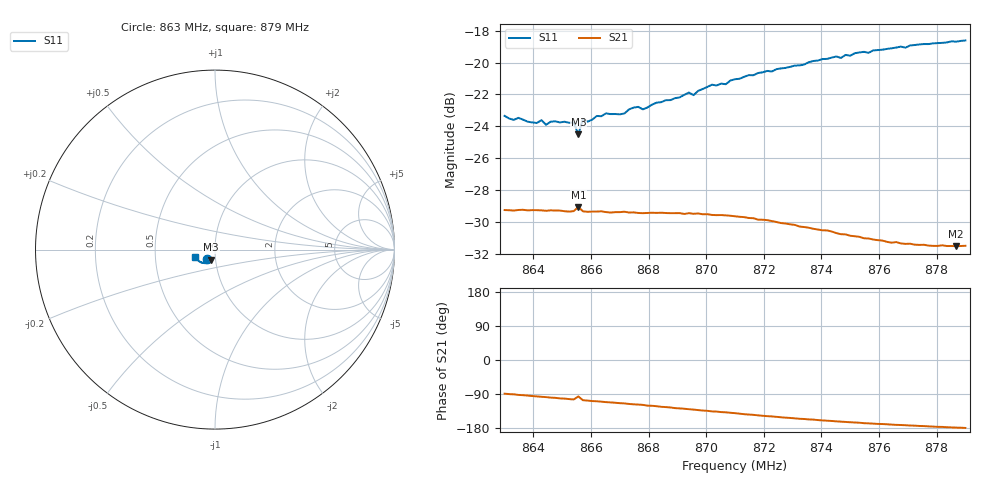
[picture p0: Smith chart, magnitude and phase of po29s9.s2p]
# HZ S RI R 50
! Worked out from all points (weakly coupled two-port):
!   101 points, 863 MHz to 879 MHz, reference 50 ohm
!   highest |S21| = -29.06 dB at 865.56 MHz (marker M1); lowest = -31.5 dB at 878.68 MHz (marker M2)
!   lowest |S11| = -24.5 dB at 865.56 MHz (marker M3), VSWR 1.13, Z = 47.6 - j5.27 ohm
!   |S11| at or under -10 dB: start of sweep to end of sweep
!   S12 and S22 are empty: the file has one direction only
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8.63e8  -0.0434 -0.0524  0.000714 -0.0345  0 0  0 0
8.6396e8  -0.0378 -0.0527  -0.00305 -0.0343  0 0  0 0
8.6428e8  -0.0367 -0.0548  -0.00424 -0.0341  0 0  0 0
8.6444e8  -0.0357 -0.0529  -0.00474 -0.034  0 0  0 0
8.654e8  -0.0335 -0.0556  -0.00838 -0.0332  0 0  0 0
8.6556e8  -0.0221 -0.0553  -0.00375 -0.035  0 0  0 0
8.6572e8  -0.0334 -0.0576  -0.00951 -0.0328  0 0  0 0
8.6588e8  -0.0333 -0.0561  -0.01 -0.0325  0 0  0 0
8.6652e8  -0.0332 -0.0608  -0.0122 -0.0317  0 0  0 0
8.6716e8  -0.033 -0.0609  -0.0141 -0.031  0 0  0 0
8.6748e8  -0.0334 -0.064  -0.0154 -0.0302  0 0  0 0
8.678e8  -0.0338 -0.0628  -0.0161 -0.0296  0 0  0 0
8.6844e8  -0.0359 -0.066  -0.0187 -0.0282  0 0  0 0
8.694e8  -0.0391 -0.0704  -0.0216 -0.0259  0 0  0 0
8.6956e8  -0.0394 -0.0685  -0.022 -0.0254  0 0  0 0
8.702e8  -0.0433 -0.0734  -0.0238 -0.0233  0 0  0 0
8.7068e8  -0.0446 -0.0729  -0.0247 -0.0222  0 0  0 0
8.71e8  -0.048 -0.0745  -0.0254 -0.0211  0 0  0 0
8.7372e8  -0.0681 -0.0747  -0.0278 -0.0116  0 0  0 0
8.7644e8  -0.0917 -0.0622  -0.0269 -0.0045  0 0  0 0
8.7868e8  -0.1079 -0.043  -0.0266 -0.000719  0 0  0 0
8.79e8  -0.1105 -0.0391  -0.0266 -0.000331  0 0  0 0
